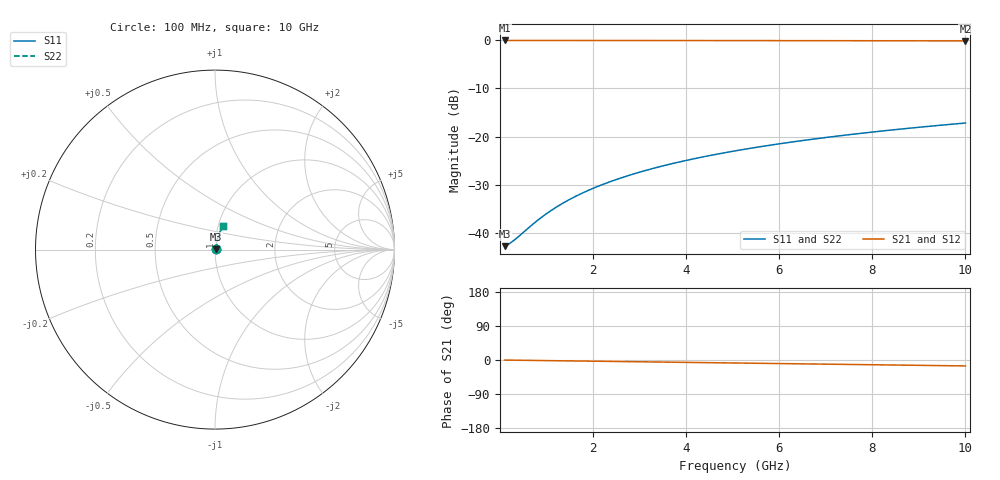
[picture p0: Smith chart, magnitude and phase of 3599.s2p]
# Hz S RI R 50.00
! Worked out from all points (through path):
!   100 points, 100 MHz to 10 GHz, reference 50 ohm
!   highest |S21| = -0.06 dB at 100 MHz (marker M1); lowest = -0.2 dB at 10 GHz (marker M2)
!   group delay of S21, straight-line fit = 4.34 ps
!   lowest |S11| = -42.7 dB at 100 MHz (marker M3), VSWR 1.01, Z = 50.7 + j0.141 ohm
!   |S11| at or under -10 dB: start of sweep to end of sweep
!   |S22| runs from -42.7 to -17.2 dB; largest |S21 - S12| = 0
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1e8  0.00719 0.00139  0.9928 -0.00272  0.9928 -0.00272  0.00719 0.00139
2e8  0.00725 0.00278  0.9927 -0.00544  0.9927 -0.00544  0.00725 0.00278
3e8  0.0073 0.00416  0.9927 -0.00816  0.9927 -0.00816  0.0073 0.00416
8e8  0.00762 0.0111  0.9923 -0.0218  0.9923 -0.0218  0.00762 0.0111
9e8  0.0077 0.0125  0.9922 -0.0245  0.9922 -0.0245  0.0077 0.0125
1.1e9  0.00788 0.0153  0.992 -0.0299  0.992 -0.0299  0.00788 0.0153
1.4e9  0.0082 0.0194  0.9916 -0.0381  0.9916 -0.0381  0.0082 0.0194
1.6e9  0.00845 0.0222  0.9913 -0.0435  0.9913 -0.0435  0.00845 0.0222
1.8e9  0.00873 0.0249  0.991 -0.0489  0.991 -0.0489  0.00873 0.0249
2.1e9  0.00921 0.0291  0.9904 -0.057  0.9904 -0.057  0.00921 0.0291
2.5e9  0.00994 0.0345  0.9895 -0.0679  0.9895 -0.0679  0.00994 0.0345
2.9e9  0.0108 0.04  0.9884 -0.0787  0.9884 -0.0787  0.0108 0.04
3.4e9  0.012 0.0468  0.9869 -0.0922  0.9869 -0.0922  0.012 0.0468
3.8e9  0.0131 0.0523  0.9855 -0.1029  0.9855 -0.1029  0.0131 0.0523
4.2e9  0.0144 0.0576  0.984 -0.1137  0.984 -0.1137  0.0144 0.0576
4.6e9  0.0157 0.063  0.9824 -0.1244  0.9824 -0.1244  0.0157 0.063
5.1e9  0.0175 0.0697  0.9801 -0.1377  0.9801 -0.1377  0.0175 0.0697
5.9e9  0.0209 0.0802  0.9759 -0.1589  0.9759 -0.1589  0.0209 0.0802
6.7e9  0.0246 0.0905  0.9713 -0.1799  0.9713 -0.1799  0.0246 0.0905
7.5e9  0.0289 0.1007  0.966 -0.2008  0.966 -0.2008  0.0289 0.1007
8.4e9  0.0341 0.1119  0.9595 -0.224  0.9595 -0.224  0.0341 0.1119
1e10  0.0447 0.131  0.9462 -0.2645  0.9462 -0.2645  0.0447 0.131
